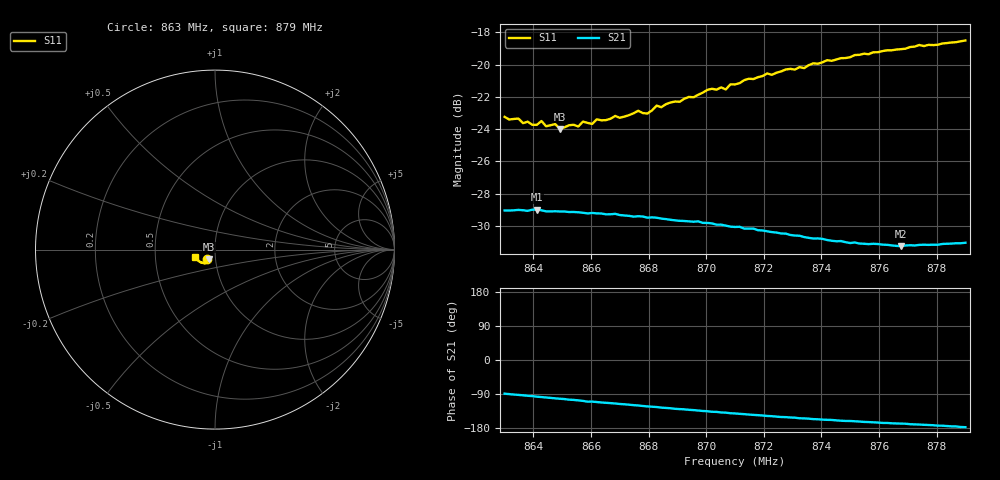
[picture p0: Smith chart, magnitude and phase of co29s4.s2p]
# HZ S RI R 50
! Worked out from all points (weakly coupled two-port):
!   101 points, 863 MHz to 879 MHz, reference 50 ohm
!   highest |S21| = -28.99 dB at 864.12 MHz (marker M1); lowest = -31.3 dB at 876.76 MHz (marker M2)
!   lowest |S11| = -24.0 dB at 864.92 MHz (marker M3), VSWR 1.13, Z = 46.3 - j4.86 ohm
!   |S11| at or under -10 dB: start of sweep to end of sweep
!   S12 and S22 are empty: the file has one direction only
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8.63e8  -0.0451 -0.0521  0.000703 -0.0353  0 0  0 0
8.6412e8  -0.0392 -0.0519  -0.00414 -0.0353  0 0  0 0
8.6428e8  -0.0387 -0.0545  -0.0048 -0.035  0 0  0 0
8.6444e8  -0.0376 -0.0522  -0.00543 -0.0347  0 0  0 0
8.6476e8  -0.0377 -0.0535  -0.00685 -0.0344  0 0  0 0
8.6492e8  -0.0354 -0.0522  -0.00743 -0.0343  0 0  0 0
8.6556e8  -0.0341 -0.0545  -0.00996 -0.0334  0 0  0 0
8.6572e8  -0.0348 -0.0567  -0.0107 -0.0331  0 0  0 0
8.6604e8  -0.0331 -0.0565  -0.0117 -0.0327  0 0  0 0
8.662e8  -0.0345 -0.0582  -0.0123 -0.0323  0 0  0 0
8.67e8  -0.0336 -0.0596  -0.015 -0.0307  0 0  0 0
8.6764e8  -0.0347 -0.063  -0.0169 -0.0294  0 0  0 0
8.6796e8  -0.034 -0.0617  -0.018 -0.0283  0 0  0 0
8.6828e8  -0.0359 -0.0654  -0.0188 -0.0278  0 0  0 0
8.6844e8  -0.0355 -0.0646  -0.0194 -0.0271  0 0  0 0
8.7004e8  -0.0416 -0.0724  -0.0229 -0.0228  0 0  0 0
8.7068e8  -0.0441 -0.0712  -0.0239 -0.0209  0 0  0 0
8.71e8  -0.0466 -0.0732  -0.0244 -0.0198  0 0  0 0
8.7372e8  -0.0673 -0.0751  -0.0264 -0.0117  0 0  0 0
8.7644e8  -0.0909 -0.0632  -0.0268 -0.00618  0 0  0 0
8.7676e8  -0.0935 -0.0608  -0.0268 -0.00575  0 0  0 0
8.79e8  -0.1112 -0.0416  -0.028 -0.00131  0 0  0 0
